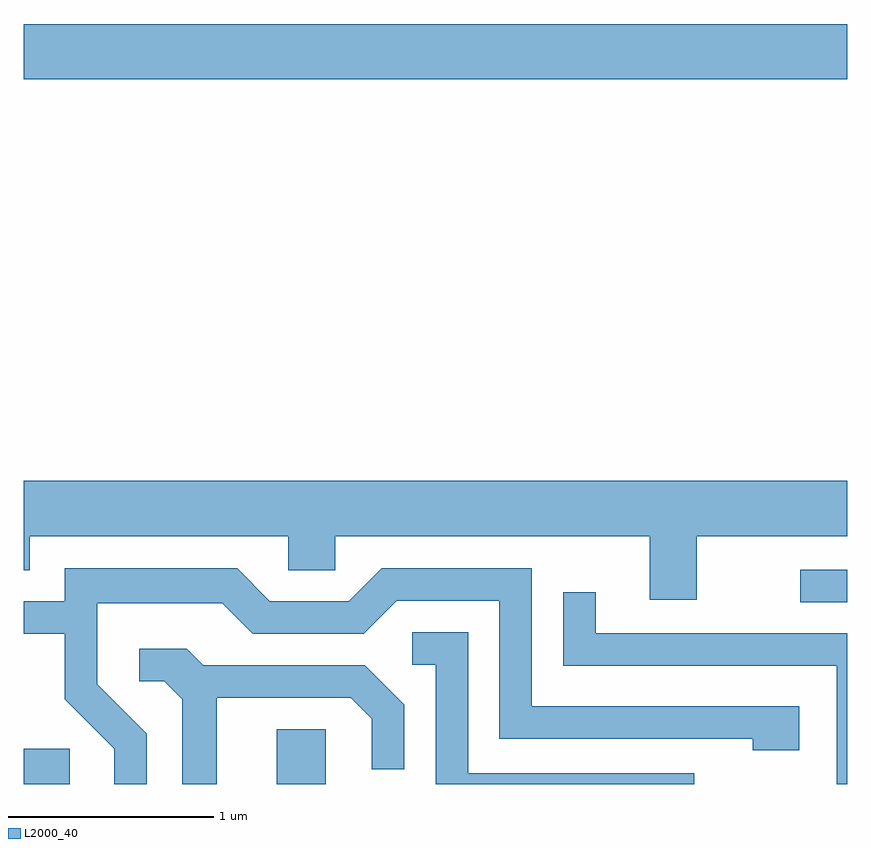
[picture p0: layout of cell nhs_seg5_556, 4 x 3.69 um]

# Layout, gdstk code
import gdstk
lib = gdstk.Library(unit=1e-6, precision=1e-09)
def R(c, l, rs):  # rectangles x0, y0, x1, y1
    for r in rs: c.add(gdstk.rectangle(r[:2], r[2:], *l))
def P(c, l, *ps):  # polygons
    for p in ps: c.add(gdstk.Polygon(p, *l))
L2000_40 = (2000, 40)

nhs_seg5_556 = lib.new_cell('nhs_seg5_556')
R(nhs_seg5_556, L2000_40, [(201.611,1420.072,201.834,1420.244), (202.841,1420.072,203.079,1420.339), (205.383,1420.956,205.611,1421.114), (201.611,1423.496,205.611,1423.764)])
P(nhs_seg5_556, L2000_40, [(204.879,1421.276),(205.611,1421.276),(205.611,1421.544),(201.611,1421.544),(201.611,1421.111),(201.639,1421.111),(201.639,1421.276),(202.896,1421.276),(202.896,1421.111),(203.124,1421.111),(203.124,1421.276),(204.651,1421.276),(204.651,1420.966),(204.879,1420.966)],
  [(202.209,1420.317),(201.969,1420.557),(201.969,1420.951),(202.574,1420.951),(202.724,1420.801),(203.262,1420.801),(203.422,1420.961),(203.921,1420.961),(203.921,1420.291),(205.151,1420.291),(205.151,1420.236),(205.379,1420.236),(205.379,1420.449),(204.079,1420.449),(204.079,1421.119),(203.349,1421.119),(203.189,1420.959),(202.807,1420.959),(202.647,1421.119),(201.811,1421.119),(201.811,1420.959),(201.611,1420.959),(201.611,1420.801),(201.811,1420.801),(201.811,1420.484),(202.051,1420.244),(202.051,1420.072),(202.209,1420.072)],
  [(205.611,1420.804),(204.389,1420.804),(204.389,1421.003),(204.231,1421.003),(204.231,1420.646),(205.561,1420.646),(205.561,1420.072),(205.611,1420.072)],
  [(204.868,1420.124),(203.769,1420.124),(203.769,1420.809),(203.498,1420.809),(203.498,1420.651),(203.611,1420.651),(203.611,1420.072),(204.868,1420.072)],
  [(202.549,1420.491),(203.199,1420.491),(203.301,1420.389),(203.301,1420.143),(203.459,1420.143),(203.459,1420.457),(203.267,1420.649),(202.482,1420.649),(202.402,1420.729),(202.173,1420.729),(202.173,1420.571),(202.294,1420.571),(202.381,1420.484),(202.381,1420.072),(202.549,1420.072)])

lib.write_gds('nhs_seg5_556.gds')
